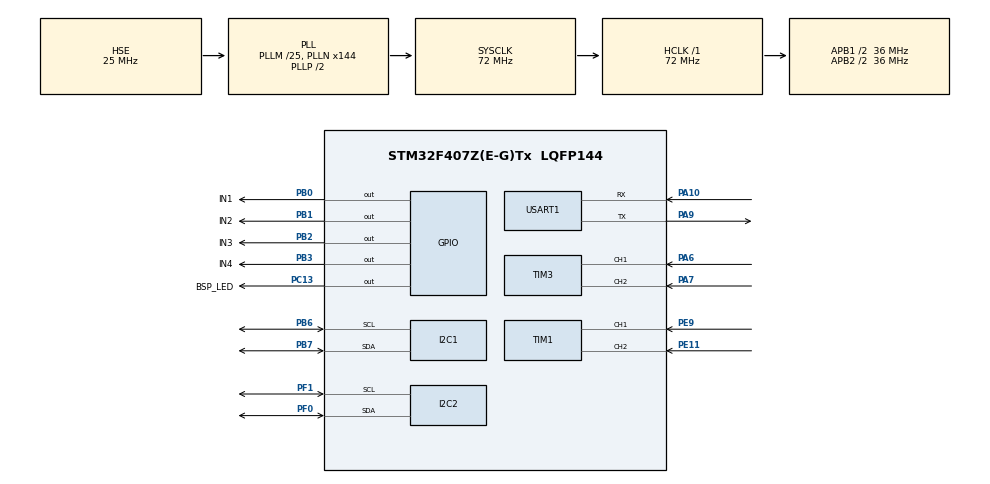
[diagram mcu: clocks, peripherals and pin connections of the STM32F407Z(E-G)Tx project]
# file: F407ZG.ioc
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Mcu.Family=STM32F4
Mcu.Name=STM32F407Z(E-G)Tx
Mcu.Package=LQFP144
NVIC.PriorityGroup=NVIC_PRIORITYGROUP_4
NVIC.TIM7_IRQn=true\:3\:0\:true\:false\:true\:true\:true\:true
PA10.Mode=Asynchronous
PA10.Signal=USART1_RX
PA13.Mode=Serial_Wire
PA13.Signal=SYS_JTMS-SWDIO
PA14.Mode=Serial_Wire
PA14.Signal=SYS_JTCK-SWCLK
PA6.Signal=S_TIM3_CH1
PA7.Signal=S_TIM3_CH2
PA9.Mode=Asynchronous
PA9.Signal=USART1_TX
PB0.GPIO_Label=IN1
PB0.Signal=GPIO_Output
PB1.GPIO_Label=IN2
PB1.Signal=GPIO_Output
PB2.GPIO_Label=IN3
PB2.Signal=GPIO_Output
PB3.GPIO_Label=IN4
PB3.Signal=GPIO_Output
PB6.Mode=I2C
PB6.Signal=I2C1_SCL
PB7.Mode=I2C
PB7.Signal=I2C1_SDA
PC13-ANTI_TAMP.GPIO_Label=BSP_LED
PC13-ANTI_TAMP.GPIO_PuPd=GPIO_PULLUP
PC13-ANTI_TAMP.Signal=GPIO_Output
PC14-OSC32_IN.Mode=LSE-External-Oscillator
PC14-OSC32_IN.Signal=RCC_OSC32_IN
PC15-OSC32_OUT.Mode=LSE-External-Oscillator
PC15-OSC32_OUT.Signal=RCC_OSC32_OUT
PE11.Signal=S_TIM1_CH2
PE9.Signal=S_TIM1_CH1
PF0.Mode=I2C
PF0.Signal=I2C2_SDA
PF1.Mode=I2C
PF1.Signal=I2C2_SCL
PH0-OSC_IN.Mode=HSE-External-Oscillator
PH0-OSC_IN.Signal=RCC_OSC_IN
PH1-OSC_OUT.Mode=HSE-External-Oscillator
PH1-OSC_OUT.Signal=RCC_OSC_OUT
ProjectManager.HeapSize=0x200
ProjectManager.StackSize=0x400
ProjectManager.TargetToolchain=Other Toolchains (GPDSC)
RCC.48MHZClocksFreq_Value=48000000
RCC.AHBFreq_Value=72000000
RCC.APB1CLKDivider=RCC_HCLK_DIV2
RCC.APB1Freq_Value=36000000
RCC.APB1TimFreq_Value=72000000
RCC.APB2CLKDivider=RCC_HCLK_DIV2
RCC.APB2Freq_Value=36000000
RCC.APB2TimFreq_Value=72000000
RCC.CortexFreq_Value=72000000
RCC.HCLKFreq_Value=72000000
RCC.HSE_VALUE=25000000
RCC.HSI_VALUE=16000000
RCC.PLLM=25
RCC.PLLN=144
RCC.PLLQ=3
RCC.PLLSourceVirtual=RCC_PLLSOURCE_HSE
RCC.SYSCLKFreq_VALUE=72000000
RCC.SYSCLKSource=RCC_SYSCLKSOURCE_PLLCLK
RCC.VCOOutputFreq_Value=144000000
SH.S_TIM1_CH1.0=TIM1_CH1,Encoder_Interface
SH.S_TIM1_CH2.0=TIM1_CH2,Encoder_Interface
SH.S_TIM3_CH1.0=TIM3_CH1,Encoder_Interface
SH.S_TIM3_CH2.0=TIM3_CH2,Encoder_Interface
TIM1.EncoderMode=TIM_ENCODERMODE_TI12
TIM7.AutoReloadPreload=TIM_AUTORELOAD_PRELOAD_ENABLE
TIM7.Period=500-1
TIM7.Prescaler=72-1
USART1.VirtualMode=VM_ASYNC
VP_TIM7_VS_ClockSourceINT.Mode=Enable_Timer
board=custom

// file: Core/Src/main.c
/* USER CODE BEGIN Header */
/**
  ******************************************************************************
  * @file           : main.c
  * @brief          : Main program body
  ******************************************************************************
  * @attention
  *
  * Copyright (c) 2022 STMicroelectronics.
  * All rights reserved.
  *
  * This software is licensed under terms that can be found in the LICENSE file
  * in the root directory of this software component.
  * If no LICENSE file comes with this software, it is provided AS-IS.
  *
  ******************************************************************************
  */
/* USER CODE END Header */
#include "main.h"
#include "i2c.h"
#include "tim.h"
#include "usart.h"
#include "gpio.h"

/* USER CODE BEGIN Includes */
#include "led.h"
#include "pid.h"
#include "stdio.h"
#include "car.h"
/* USER CODE END Includes */

/* USER CODE BEGIN PM */
extern int Timer;			//时间
extern uint8_t speed;		//当前PWM
extern short TargetSpeed; //目标速度

/* USER CODE END PM */

void SystemClock_Config(void);

int main(void)
{

  /* MCU Configuration--------------------------------------------------------*/

  /* Reset of all peripherals, Initializes the Flash interface and the Systick. */
  HAL_Init();

  /* Configure the system clock */
  SystemClock_Config();

  /* Initialize all configured peripherals */
  MX_GPIO_Init();
  MX_I2C1_Init();
  MX_I2C2_Init();
  MX_USART1_UART_Init();
  MX_TIM1_Init();
  MX_TIM7_Init();
  MX_TIM3_Init();

  /* Infinite loop */
  /* USER CODE BEGIN WHILE */
  while (1)
  {
    Led_Flash();
    /* USER CODE END WHILE */

  }
}

void SystemClock_Config(void)
{
  RCC_OscInitTypeDef RCC_OscInitStruct = {0};
  RCC_ClkInitTypeDef RCC_ClkInitStruct = {0};

  /** Configure the main internal regulator output voltage
  */
  __HAL_RCC_PWR_CLK_ENABLE();
  __HAL_PWR_VOLTAGESCALING_CONFIG(PWR_REGULATOR_VOLTAGE_SCALE1);

  /** Initializes the RCC Oscillators according to the specified parameters
  * in the RCC_OscInitTypeDef structure.
  */
  RCC_OscInitStruct.OscillatorType = RCC_OSCILLATORTYPE_HSE;
  RCC_OscInitStruct.HSEState = RCC_HSE_ON;
  RCC_OscInitStruct.PLL.PLLState = RCC_PLL_ON;
  RCC_OscInitStruct.PLL.PLLSource = RCC_PLLSOURCE_HSE;
  RCC_OscInitStruct.PLL.PLLM = 25;
  RCC_OscInitStruct.PLL.PLLN = 144;
  RCC_OscInitStruct.PLL.PLLP = RCC_PLLP_DIV2;
  RCC_OscInitStruct.PLL.PLLQ = 3;
  if (HAL_RCC_OscConfig(&RCC_OscInitStruct) != HAL_OK)
  {
    Error_Handler();
  }

  /** Initializes the CPU, AHB and APB buses clocks
  */
  RCC_ClkInitStruct.ClockType = RCC_CLOCKTYPE_HCLK|RCC_CLOCKTYPE_SYSCLK
                              |RCC_CLOCKTYPE_PCLK1|RCC_CLOCKTYPE_PCLK2;
  RCC_ClkInitStruct.SYSCLKSource = RCC_SYSCLKSOURCE_PLLCLK;
  RCC_ClkInitStruct.AHBCLKDivider = RCC_SYSCLK_DIV1;
  RCC_ClkInitStruct.APB1CLKDivider = RCC_HCLK_DIV2;
  RCC_ClkInitStruct.APB2CLKDivider = RCC_HCLK_DIV2;

  if (HAL_RCC_ClockConfig(&RCC_ClkInitStruct, FLASH_LATENCY_2) != HAL_OK)
  {
    Error_Handler();
  }
}

/* USER CODE BEGIN 4 */

/*中断回调函数*/
void HAL_TIM_PeriodElapsedCallback(TIM_HandleTypeDef *htim)
{
	short fSpeed;
	short ERROR;
	static uint8_t i = 0;

 	/*判断当进入定时器7中断�?*/
	if(htim->Instance == TIM7)
	{
		fSpeed = GetSpeed();			//获取当前速度
		speed += PID_Cal(fSpeed,&ERROR);//当前PWM数�?�加上增量式PID计算�?�?

		//限制PWM�?大范�?
		if(speed>100)speed = 100;
		else if(speed<1)speed = 1;

		//将PID计算后的PWM写入系统
		SetMotorVoltageAndDirection(speed);

		/* 每隔�?5*100）ms打印�?次�?�度数据 */
    i++;
	}

	if(htim->Instance == TIM3)
	{

	}
}
/* USER CODE END 4 */

void Error_Handler(void)
{
  __disable_irq();
  while (1)
  {
  }
}
